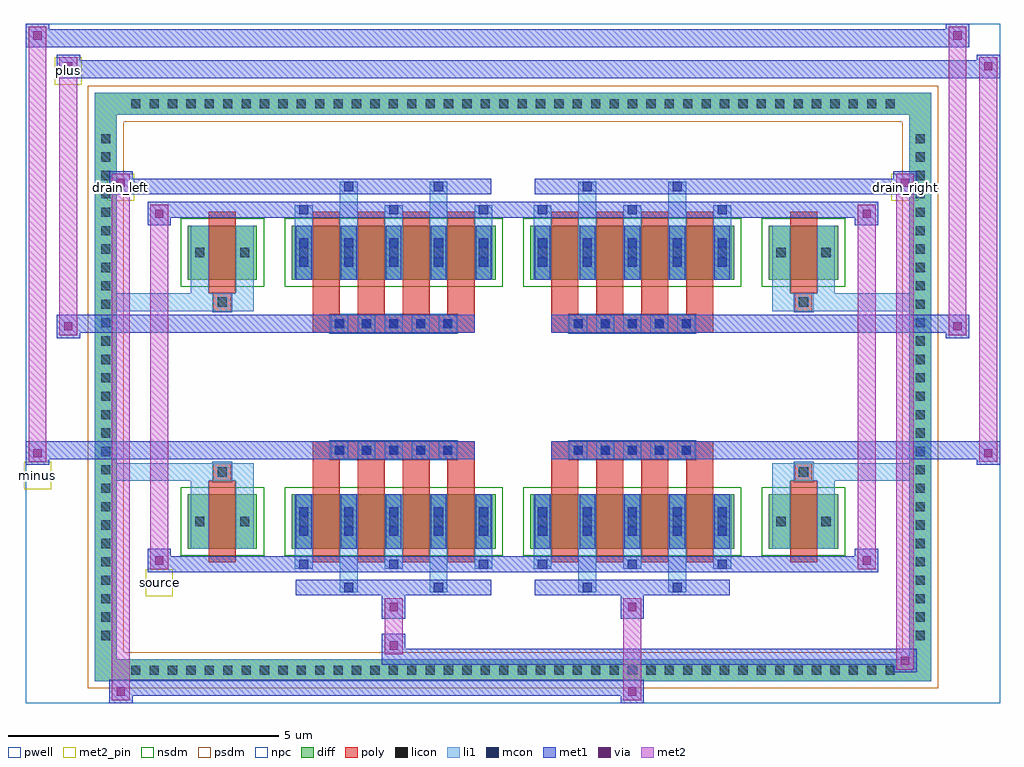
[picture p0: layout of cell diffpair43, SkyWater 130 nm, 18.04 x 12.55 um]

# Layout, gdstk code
import gdstk
lib = gdstk.Library(unit=1e-6, precision=5e-09)
def R(c, l, rs):  # rectangles x0, y0, x1, y1
    for r in rs: c.add(gdstk.rectangle(r[:2], r[2:], *l))
def A(c, l, x, y, w, h, nx, ny, dx, dy):  # array of equal rectangles
    R(c, l, [(x+i*dx, y+j*dy, x+i*dx+w, y+j*dy+h) for i in range(nx) for j in range(ny)])
def P(c, l, *ps):  # polygons
    for p in ps: c.add(gdstk.Polygon(p, *l))
pwell = (64, 44)
diff = (65, 20)
poly = (66, 20)
licon = (66, 44)
li1 = (67, 20)
mcon = (67, 44)
met1 = (68, 20)
via = (68, 44)
met2_pin = (69, 16)
met2 = (69, 20)
nsdm = (93, 44)
psdm = (94, 20)
npc = (95, 20)

diffpair43 = lib.new_cell('diffpair43')
R(diffpair43, pwell, [(-9,-5.84,9,6.71), (-6.32,-4.03,-0.01,-0.805), (0.01,-4.03,6.32,-0.805), (-6.32,0.805,-0.01,4.03), (0.01,0.805,6.32,4.03)])
A(diffpair43, diff, -7.175, -5.44, 0.41, 0.41, 42, 2, 0.34, 10.47)
A(diffpair43, diff, -7.73, -4.795, 0.41, 0.41, 1, 28, 0, 0.34)
A(diffpair43, diff, 7.32, -4.795, 0.41, 0.41, 1, 28, 0, 0.34)
R(diffpair43, diff, [(-7.175,-5.44,7.175,-5.03), (-7.73,-4.795,-7.32,4.795), (7.32,-4.795,7.73,4.795), (-6.01,-2.985,-4.73,-1.985), (-4.09,-2.985,-0.32,-1.985), (0.32,-2.985,4.09,-1.985), (4.73,-2.985,6.01,-1.985), (-6.01,1.985,-4.73,2.985), (-4.09,1.985,-0.32,2.985), (0.32,1.985,4.09,2.985), (4.73,1.985,6.01,2.985), (-7.175,5.03,7.175,5.44)])
P(diffpair43, diff, [(7.73,5.44),(-7.73,5.44),(-7.73,-5.03),(-7.32,-5.03),(-7.32,5.03),(7.32,5.03),(7.32,-5.03),(-7.32,-5.03),(-7.73,-5.03),(-7.73,-5.44),(7.73,-5.44)])
A(diffpair43, poly, -3.7, -3.235, 0.5, 1.5, 4, 2, 0.83, 4.97)
A(diffpair43, poly, 0.71, -3.235, 0.5, 1.5, 4, 2, 0.83, 4.97)
A(diffpair43, poly, -3.7, -1.735, 0.5, 0.4, 4, 2, 0.83, 3.07)
A(diffpair43, poly, 0.71, -1.735, 0.5, 0.4, 4, 2, 0.83, 3.07)
A(diffpair43, poly, -3.37, -1.335, 0.33, 0.33, 5, 2, 0.5, 2.34)
A(diffpair43, poly, 1.04, -1.335, 0.33, 0.33, 5, 2, 0.5, 2.34)
R(diffpair43, poly, [(-5.62,-3.235,-5.12,-1.735), (5.12,-3.235,5.62,-1.735), (-5.535,-1.735,-5.205,-1.405), (-5.535,-1.735,-5.205,-1.405), (5.205,-1.735,5.535,-1.405), (5.205,-1.735,5.535,-1.405), (-3.7,-1.335,-0.71,-1.005), (0.71,-1.335,3.7,-1.005), (-3.7,1.005,-0.71,1.335), (0.71,1.005,3.7,1.335), (-5.535,1.405,-5.205,1.735), (-5.535,1.405,-5.205,1.735), (5.205,1.405,5.535,1.735), (5.205,1.405,5.535,1.735), (-5.62,1.735,-5.12,3.235), (5.12,1.735,5.62,3.235)])
A(diffpair43, licon, -7.055, -5.32, 0.17, 0.17, 42, 2, 0.34, 10.47)
A(diffpair43, licon, -7.61, -4.675, 0.17, 0.17, 1, 28, 0, 0.34)
A(diffpair43, licon, 7.44, -4.675, 0.17, 0.17, 1, 28, 0, 0.34)
A(diffpair43, licon, -3.95, -2.57, 0.17, 0.17, 5, 2, 0.83, 4.97)
A(diffpair43, licon, 0.46, -2.57, 0.17, 0.17, 5, 2, 0.83, 4.97)
A(diffpair43, licon, -3.29, -1.255, 0.17, 0.17, 5, 2, 0.5, 2.34)
A(diffpair43, licon, 1.12, -1.255, 0.17, 0.17, 5, 2, 0.5, 2.34)
R(diffpair43, licon, [(-5.87,-2.57,-5.7,-2.4), (-5.04,-2.57,-4.87,-2.4), (4.87,-2.57,5.04,-2.4), (5.7,-2.57,5.87,-2.4), (-5.455,-1.655,-5.285,-1.485), (5.285,-1.655,5.455,-1.485), (-5.455,1.485,-5.285,1.655), (5.285,1.485,5.455,1.655), (-5.87,2.4,-5.7,2.57), (-5.04,2.4,-4.87,2.57), (4.87,2.4,5.04,2.57), (5.7,2.4,5.87,2.57)])
A(diffpair43, li1, -7.135, -5.4, 0.33, 0.33, 42, 2, 0.34, 10.47)
A(diffpair43, li1, -7.69, -4.755, 0.33, 0.33, 1, 28, 0, 0.34)
A(diffpair43, li1, 7.36, -4.755, 0.33, 0.33, 1, 28, 0, 0.34)
A(diffpair43, li1, -4.03, -3.36, 0.33, 0.375, 3, 2, 1.66, 6.345)
A(diffpair43, li1, -3.95, -3.36, 0.17, 0.17, 3, 2, 1.66, 6.55)
A(diffpair43, li1, 0.38, -3.36, 0.33, 0.375, 3, 2, 1.66, 6.345)
A(diffpair43, li1, 0.46, -3.36, 0.17, 0.17, 3, 2, 1.66, 6.55)
A(diffpair43, li1, -4.03, -2.985, 0.33, 1, 5, 2, 0.83, 4.97)
A(diffpair43, li1, 0.38, -2.985, 0.33, 1, 5, 2, 0.83, 4.97)
A(diffpair43, li1, -3.95, -2.75, 0.17, 0.17, 5, 2, 0.83, 0.36)
A(diffpair43, li1, -3.95, -2.75, 0.17, 0.53, 5, 2, 0.83, 4.97)
A(diffpair43, li1, 0.46, -2.75, 0.17, 0.17, 5, 2, 0.83, 0.36)
A(diffpair43, li1, 0.46, -2.75, 0.17, 0.53, 5, 2, 0.83, 4.97)
A(diffpair43, li1, -4.03, -2.65, 0.33, 0.33, 5, 2, 0.83, 4.97)
A(diffpair43, li1, 0.38, -2.65, 0.33, 0.33, 5, 2, 0.83, 4.97)
A(diffpair43, li1, -3.37, -1.335, 0.33, 0.33, 5, 2, 0.5, 2.34)
A(diffpair43, li1, 1.04, -1.335, 0.33, 0.33, 5, 2, 0.5, 2.34)
A(diffpair43, li1, -3.95, 2.22, 0.17, 0.17, 5, 2, 0.83, 0.36)
A(diffpair43, li1, 0.46, 2.22, 0.17, 0.17, 5, 2, 0.83, 0.36)
R(diffpair43, li1, [(-7.73,-5.44,-7.32,-5.03), (-7.73,-5.44,-7.32,-5.03), (-7.32,-5.44,7.32,-5.03), (7.32,-5.44,7.73,-5.03), (7.32,-5.44,7.73,-5.03), (-7.73,-5.03,-7.32,5.03), (7.32,-5.03,7.73,5.03), (-3.2,-3.79,-2.87,-2.985), (-3.12,-3.79,-2.95,-3.62), (-1.54,-3.79,-1.21,-2.985), (-1.46,-3.79,-1.29,-3.62), (1.21,-3.79,1.54,-2.985), (1.29,-3.79,1.46,-3.62), (2.87,-3.79,3.2,-2.985), (2.95,-3.79,3.12,-3.62), (-5.95,-2.985,-5.62,-1.985), (-5.12,-2.985,-4.79,-1.985), (4.79,-2.985,5.12,-1.985), (5.62,-2.985,5.95,-1.985), (-5.95,-2.65,-5.62,-2.32), (-5.12,-2.65,-4.79,-2.32), (4.79,-2.65,5.12,-2.32), (5.62,-2.65,5.95,-2.32), (-5.95,-1.985,-5.62,-1.405), (-5.12,-1.985,-4.79,-1.405), (4.79,-1.985,5.12,-1.405), (5.62,-1.985,5.95,-1.405), (-7.73,-1.735,-5.535,-1.405), (-5.95,-1.735,-5.535,-1.405), (-5.535,-1.735,-5.205,-1.405), (-5.205,-1.735,-4.79,-1.405), (4.79,-1.735,5.205,-1.405), (5.205,-1.735,5.535,-1.405), (5.205,-1.735,7.73,-1.405), (5.535,-1.735,5.95,-1.405), (-7.73,1.405,-5.535,1.735), (-5.95,1.405,-5.535,1.735), (-5.95,1.405,-5.62,1.985), (-5.535,1.405,-5.205,1.735), (-5.205,1.405,-4.79,1.735), (-5.12,1.405,-4.79,1.985), (4.79,1.405,5.205,1.735), (4.79,1.405,5.12,1.985), (5.205,1.405,5.535,1.735), (5.205,1.405,7.73,1.735), (5.535,1.405,5.95,1.735), (5.62,1.405,5.95,1.985), (-5.95,1.985,-5.62,2.985), (-5.12,1.985,-4.79,2.985), (4.79,1.985,5.12,2.985), (5.62,1.985,5.95,2.985), (-5.95,2.32,-5.62,2.65), (-5.12,2.32,-4.79,2.65), (4.79,2.32,5.12,2.65), (5.62,2.32,5.95,2.65), (-3.2,2.985,-2.87,3.79), (-1.54,2.985,-1.21,3.79), (1.21,2.985,1.54,3.79), (2.87,2.985,3.2,3.79), (-3.12,3.62,-2.95,3.79), (-1.46,3.62,-1.29,3.79), (1.29,3.62,1.46,3.79), (2.95,3.62,3.12,3.79), (-7.73,5.03,-7.32,5.44), (-7.73,5.03,-7.32,5.44), (-7.32,5.03,7.32,5.44), (7.32,5.03,7.73,5.44), (7.32,5.03,7.73,5.44)])
A(diffpair43, mcon, -3.95, -3.36, 0.17, 0.17, 3, 2, 1.66, 6.55)
A(diffpair43, mcon, 0.46, -3.36, 0.17, 0.17, 3, 2, 1.66, 6.55)
A(diffpair43, mcon, -3.95, -2.75, 0.17, 0.17, 5, 2, 0.83, 0.36)
A(diffpair43, mcon, 0.46, -2.75, 0.17, 0.17, 5, 2, 0.83, 0.36)
A(diffpair43, mcon, -3.29, -1.255, 0.17, 0.17, 5, 2, 0.5, 2.34)
A(diffpair43, mcon, 1.12, -1.255, 0.17, 0.17, 5, 2, 0.5, 2.34)
A(diffpair43, mcon, -3.95, 2.22, 0.17, 0.17, 5, 2, 0.83, 0.36)
A(diffpair43, mcon, 0.46, 2.22, 0.17, 0.17, 5, 2, 0.83, 0.36)
R(diffpair43, mcon, [(-3.12,-3.79,-2.95,-3.62), (-1.46,-3.79,-1.29,-3.62), (1.29,-3.79,1.46,-3.62), (2.95,-3.79,3.12,-3.62), (-3.12,3.62,-2.95,3.79), (-1.46,3.62,-1.29,3.79), (1.29,3.62,1.46,3.79), (2.95,3.62,3.12,3.79)])
A(diffpair43, met1, -4.01, -3.42, 0.29, 0.29, 3, 2, 1.66, 6.55)
A(diffpair43, met1, 0.4, -3.42, 0.29, 0.29, 3, 2, 1.66, 6.55)
A(diffpair43, met1, -4.01, -2.985, 0.29, 1, 5, 2, 0.83, 4.97)
A(diffpair43, met1, 0.4, -2.985, 0.29, 1, 5, 2, 0.83, 4.97)
A(diffpair43, met1, -4.01, -2.81, 0.29, 0.29, 5, 2, 0.83, 0.36)
A(diffpair43, met1, 0.4, -2.81, 0.29, 0.29, 5, 2, 0.83, 0.36)
A(diffpair43, met1, -3.35, -1.315, 0.29, 0.29, 5, 2, 0.5, 2.34)
A(diffpair43, met1, 1.06, -1.315, 0.29, 0.29, 5, 2, 0.5, 2.34)
A(diffpair43, met1, -4.01, 2.16, 0.29, 0.29, 5, 2, 0.83, 0.36)
A(diffpair43, met1, 0.4, 2.16, 0.29, 0.29, 5, 2, 0.83, 0.36)
R(diffpair43, met1, [(-7.46,-5.84,-7.03,-5.41), (1.99,-5.84,2.42,-5.41), (-7.46,-5.7,2.42,-5.41), (7.03,-5.27,7.46,-4.84), (-2.42,-5.13,7.46,-4.84), (-2.42,-4.99,-1.99,-4.56), (-2.42,-4.28,-1.99,-3.85), (1.99,-4.28,2.42,-3.85), (-4.01,-3.85,-0.4,-3.56), (-3.18,-3.85,-2.89,-3.56), (-1.52,-3.85,-1.23,-3.56), (0.4,-3.85,4.01,-3.56), (1.23,-3.85,1.52,-3.56), (2.89,-3.85,3.18,-3.56), (-6.75,-3.42,-6.32,-2.99), (-6.75,-3.42,-4.01,-3.13), (-4.01,-3.42,-0.4,-3.13), (-0.4,-3.42,0.4,-3.13), (0.4,-3.42,4.01,-3.13), (4.01,-3.42,6.75,-3.13), (6.32,-3.42,6.75,-2.99), (-9,-1.435,-8.57,-1.005), (8.57,-1.435,9,-1.005), (-9,-1.335,-0.71,-1.005), (-3.7,-1.335,-0.71,-1.005), (0.71,-1.335,3.7,-1.005), (0.71,-1.335,9,-1.005), (-8.43,0.905,-8,1.335), (8,0.905,8.43,1.335), (-8.43,1.005,-3.7,1.335), (-3.7,1.005,-0.71,1.335), (0.71,1.005,3.7,1.335), (3.7,1.005,8.43,1.335), (-6.75,2.99,-6.32,3.42), (6.32,2.99,6.75,3.42), (-6.75,3.13,-4.01,3.42), (-4.01,3.13,-0.4,3.42), (-0.4,3.13,0.4,3.42), (0.4,3.13,4.01,3.42), (4.01,3.13,6.75,3.42), (-7.46,3.56,-7.03,3.99), (-7.46,3.56,-4.01,3.85), (-4.01,3.56,-0.4,3.85), (-3.18,3.56,-2.89,3.85), (-1.52,3.56,-1.23,3.85), (0.4,3.56,4.01,3.85), (1.23,3.56,1.52,3.85), (2.89,3.56,3.18,3.85), (4.01,3.56,7.46,3.85), (7.03,3.56,7.46,3.99), (-8.43,5.71,-8,6.14), (-8.43,5.71,-6.32,6.04), (-6.32,5.71,6.32,6.04), (6.32,5.71,9,6.04), (8.57,5.71,9,6.14), (-9,6.28,-8.57,6.71), (-9,6.28,-6.32,6.61), (-6.32,6.28,6.32,6.61), (6.32,6.28,8.43,6.61), (8,6.28,8.43,6.71)])
R(diffpair43, via, [(-7.32,-5.7,-7.17,-5.55), (2.13,-5.7,2.28,-5.55), (7.17,-5.13,7.32,-4.98), (-2.28,-4.85,-2.13,-4.7), (-2.28,-4.14,-2.13,-3.99), (2.13,-4.14,2.28,-3.99), (-6.61,-3.28,-6.46,-3.13), (6.46,-3.28,6.61,-3.13), (-8.86,-1.295,-8.71,-1.145), (8.71,-1.295,8.86,-1.145), (-8.29,1.045,-8.14,1.195), (8.14,1.045,8.29,1.195), (-6.61,3.13,-6.46,3.28), (6.46,3.13,6.61,3.28), (-7.32,3.7,-7.17,3.85), (7.17,3.7,7.32,3.85), (-8.29,5.85,-8.14,6), (8.71,5.85,8.86,6), (-8.86,6.42,-8.71,6.57), (8.14,6.42,8.29,6.57)])
R(diffpair43, met2_pin, [(-6.785,-3.87,-6.285,-3.37), (-9.035,-1.885,-8.535,-1.385), (-7.495,3.44,-6.995,3.94), (6.995,3.44,7.495,3.94), (-8.465,5.59,-7.965,6.09)])
R(diffpair43, met2, [(-7.41,-5.79,-7.08,-5.46), (-7.41,-5.79,-7.08,3.94), (2.04,-5.79,2.37,-5.46), (2.04,-5.46,2.37,-4.23), (7.08,-5.22,7.41,-4.89), (7.08,-5.22,7.41,3.94), (-2.37,-4.94,-2.04,-4.61), (-2.37,-4.61,-2.04,-4.23), (-2.37,-4.23,-2.04,-3.9), (2.04,-4.23,2.37,-3.9), (-6.7,-3.37,-6.37,-3.04), (-6.7,-3.37,-6.37,3.37), (6.37,-3.37,6.7,-3.04), (6.37,-3.37,6.7,3.37), (-8.95,-1.385,-8.62,-1.055), (-8.95,-1.385,-8.62,6.66), (8.62,-1.385,8.95,-1.055), (8.62,-1.385,8.95,6.09), (-8.38,0.955,-8.05,1.285), (-8.38,0.955,-8.05,6.09), (8.05,0.955,8.38,1.285), (8.05,0.955,8.38,6.66), (-6.7,3.04,-6.37,3.37), (6.37,3.04,6.7,3.37), (-7.41,3.61,-7.08,3.94), (7.08,3.61,7.41,3.94), (-8.38,5.76,-8.05,6.09), (8.62,5.76,8.95,6.09), (-8.95,6.33,-8.62,6.66), (8.05,6.33,8.38,6.66)])
P(diffpair43, met2, [(8.95,-1.385),(8.95,-1.385),(8.95,-1.055),(8.95,-1.055)],
  [(8.95,5.76),(8.95,5.76),(8.95,6.09),(8.95,6.09)],
  [(-8.62,-1.385),(-8.62,-1.385),(-8.62,-1.055),(-8.62,-1.055)],
  [(-8.62,6.33),(-8.62,6.33),(-8.62,6.66),(-8.62,6.66)],
  [(8.38,0.955),(8.38,0.955),(8.38,1.285),(8.38,1.285)],
  [(8.38,6.33),(8.38,6.33),(8.38,6.66),(8.38,6.66)],
  [(-8.05,0.955),(-8.05,0.955),(-8.05,1.285),(-8.05,1.285)],
  [(-8.05,5.76),(-8.05,5.76),(-8.05,6.09),(-8.05,6.09)],
  [(-7.08,-5.79),(-7.08,-5.79),(-7.08,-5.46),(-7.08,-5.46)],
  [(-7.08,3.61),(-7.08,3.61),(-7.08,3.94),(-7.08,3.94)],
  [(7.41,-5.22),(7.41,-5.22),(7.41,-4.89),(7.41,-4.89)],
  [(7.41,3.61),(7.41,3.61),(7.41,3.94),(7.41,3.94)],
  [(-6.37,-3.37),(-6.37,-3.37),(-6.37,-3.04),(-6.37,-3.04)],
  [(-6.37,3.04),(-6.37,3.04),(-6.37,3.37),(-6.37,3.37)],
  [(6.7,-3.37),(6.7,-3.37),(6.7,-3.04),(6.7,-3.04)],
  [(6.7,3.04),(6.7,3.04),(6.7,3.37),(6.7,3.37)])
R(diffpair43, nsdm, [(-6.14,-3.115,-4.6,-1.855), (-4.22,-3.115,-0.19,-1.855), (0.19,-3.115,4.22,-1.855), (4.6,-3.115,6.14,-1.855), (-6.14,1.855,-4.6,3.115), (-4.22,1.855,-0.19,3.115), (0.19,1.855,4.22,3.115), (4.6,1.855,6.14,3.115)])
P(diffpair43, psdm, [(7.86,5.57),(-7.86,5.57),(-7.86,-4.9),(-7.19,-4.9),(-7.19,4.9),(7.19,4.9),(7.19,-4.9),(-7.19,-4.9),(-7.86,-4.9),(-7.86,-5.57),(7.86,-5.57)])
A(diffpair43, npc, -3.39, -1.355, 0.37, 0.37, 5, 2, 0.5, 2.34)
A(diffpair43, npc, 1.02, -1.355, 0.37, 0.37, 5, 2, 0.5, 2.34)
R(diffpair43, npc, [(-5.555,-1.755,-5.185,-1.385), (5.185,-1.755,5.555,-1.385), (-3.39,-1.355,-2.52,-0.985), (-3.39,-1.355,-2.52,-0.985), (-2.89,-1.355,-2.02,-0.985), (-2.89,-1.355,-2.02,-0.985), (-2.39,-1.355,-1.52,-0.985), (-2.39,-1.355,-1.52,-0.985), (-1.89,-1.355,-1.02,-0.985), (-1.89,-1.355,-1.02,-0.985), (1.02,-1.355,1.89,-0.985), (1.02,-1.355,1.89,-0.985), (1.52,-1.355,2.39,-0.985), (1.52,-1.355,2.39,-0.985), (2.02,-1.355,2.89,-0.985), (2.02,-1.355,2.89,-0.985), (2.52,-1.355,3.39,-0.985), (2.52,-1.355,3.39,-0.985), (-3.39,0.985,-2.52,1.355), (-3.39,0.985,-2.52,1.355), (-2.89,0.985,-2.02,1.355), (-2.89,0.985,-2.02,1.355), (-2.39,0.985,-1.52,1.355), (-2.39,0.985,-1.52,1.355), (-1.89,0.985,-1.02,1.355), (-1.89,0.985,-1.02,1.355), (1.02,0.985,1.89,1.355), (1.02,0.985,1.89,1.355), (1.52,0.985,2.39,1.355), (1.52,0.985,2.39,1.355), (2.02,0.985,2.89,1.355), (2.02,0.985,2.89,1.355), (2.52,0.985,3.39,1.355), (2.52,0.985,3.39,1.355), (-5.555,1.385,-5.185,1.755), (5.185,1.385,5.555,1.755)])
diffpair43.add(gdstk.Label('minus', (-8.785,-1.635), layer=69, texttype=5))
diffpair43.add(gdstk.Label('drain_right', (7.245,3.69), layer=69, texttype=5))
diffpair43.add(gdstk.Label('drain_left', (-7.245,3.69), layer=69, texttype=5))
diffpair43.add(gdstk.Label('source', (-6.535,-3.62), layer=69, texttype=5))
diffpair43.add(gdstk.Label('plus', (-8.215,5.84), layer=69, texttype=5))

lib.write_gds('diffpair43.gds')
